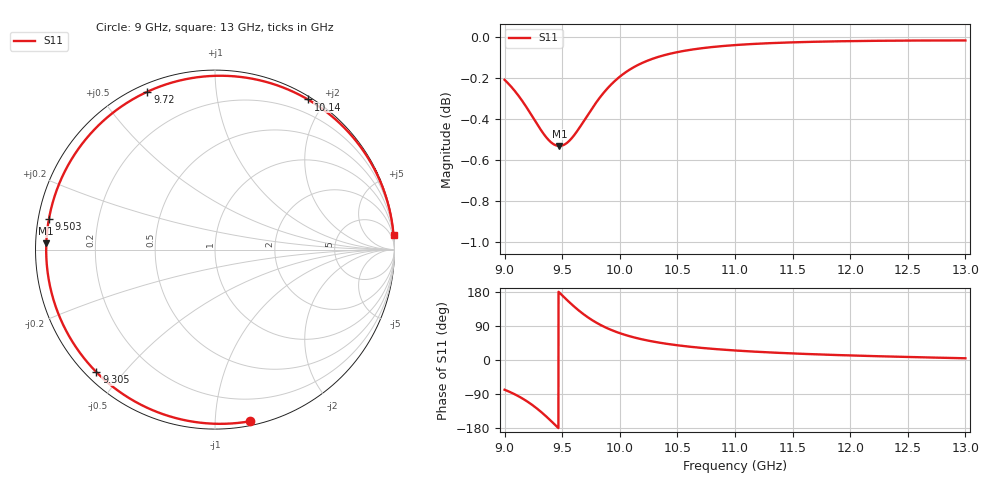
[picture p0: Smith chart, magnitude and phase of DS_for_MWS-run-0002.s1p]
! TOUCHSTONE file generated by CST DESIGN STUDIO
! Date and time: Tue Feb  4 12:56:03 2025
! Project name: C:\Work\MatlabApps\UnitCellOptimizationMatlab\CST\unitcell.cst
! Tree item: Tasks\Sweep1\SPara1\S-Parameters
! Header version: 2024
! Port assignment regex: !\s*Touchstone port\s*([0-9]+)\s*=\s*(CST MWS port|CST DES external port|CST DES block port)\s*(.+)\s* \(\"(.*)\"\)(\s*mode\s*([0-9]+))?.*
! Touchstone port assignment:
! Touchstone port 1 = CST DES external port 1 ("")
# GHz S MA R 50
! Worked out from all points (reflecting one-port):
!   4001 points, 9 GHz to 13 GHz, reference 50 ohm
!   lowest |S11| = -0.5 dB at 9.475 GHz (marker M1), VSWR 32.70, Z = 1.53 + j0.922 ohm
!   phase of S11 starts at -78 deg and turns -277 deg over the sweep
!   S11 on the Smith chart (normalised r, x): 9 GHz: 0.03, -1.22; 9.305 GHz: 0.03, -0.42; 9.503 GHz: 0.03, +0.09; 9.72 GHz: 0.03, +0.66; 10.14 GHz: 0.03, +1.79; 13 GHz: 1, +25
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9  0.9761 -78.5
9.076  0.971 -88.7
9.173  0.9629 -104.9
9.241  0.9563 -118.8
9.305  0.95 -134.0
9.35  0.9461 -145.9
9.397  0.9429 -159.1
9.437  0.9412 -170.8
9.475  0.9406 177.9
9.5  0.9409 170.4
9.503  0.9409 169.6
9.555  0.943 154.4
9.615  0.9472 138.0
9.667  0.9519 125.0
9.72  0.9569 113.2
9.776  0.9621 102.2
9.838  0.9674 91.6
9.918  0.9731 80.3
10  0.9779 70.8
10.141  0.9837 58.2
10.303  0.9881 47.9
10.5  0.9914 38.9
10.722  0.9936 31.6
11  0.9953 25.1
11.5  0.9968 17.3
12  0.9975 12.0
12.5  0.9978 8.0
13  0.9979 4.5
